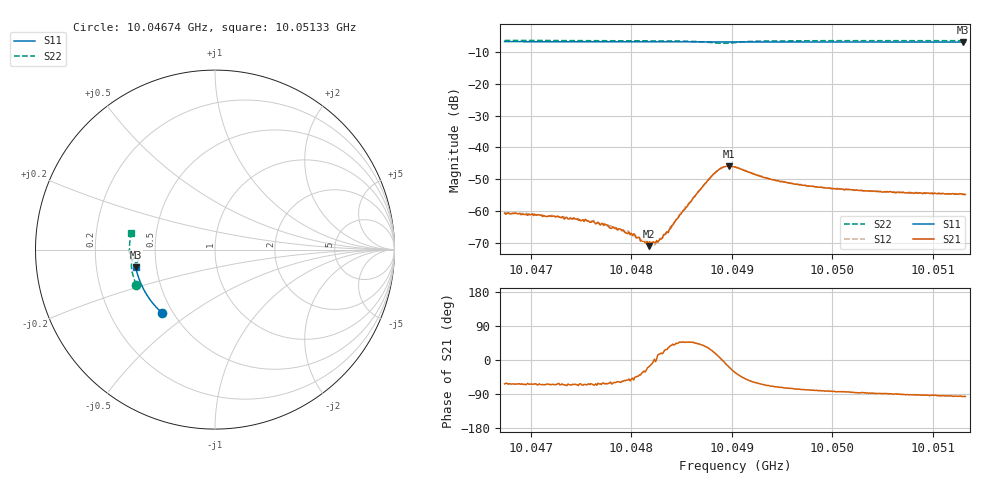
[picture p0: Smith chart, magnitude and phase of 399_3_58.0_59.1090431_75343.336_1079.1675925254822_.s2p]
#  HZ  S  RI  R  50.00
! Rohde & Schwarz Vector Network Analyzer
! Rohde-Schwarz,ZNB20-2Port,1311601062101988,3.16
! Created: UTC 3/21/2024, 1:08:10 AM
! freq[Hz]  re:S11  im:S11  re:S21  im:S21  re:S12  im:S12  re:S22  im:S22
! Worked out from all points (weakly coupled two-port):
!   401 points, 10.04674 GHz to 10.05133 GHz, reference 50 ohm
!   highest |S21| = -45.98 dB at 10.04898 GHz (marker M1); lowest = -71.1 dB at 10.04817 GHz (marker M2)
!   lowest |S11| = -6.9 dB at 10.0513 GHz (marker M3), VSWR 2.65, Z = 19.1 - j4.69 ohm
!   |S11| at or under -10 dB: nowhere
!   |S22| runs from -7.3 to -6.4 dB; largest |S21 - S12| = 0.00037
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1.004674e10  -0.2947 -0.3533  0.000417 -0.000819  0.000464 -0.000809  -0.4388 -0.1951
1.004721e10  -0.3173 -0.332  0.000357 -0.000737  0.000415 -0.000745  -0.45 -0.1653
1.0047508e10  -0.3308 -0.3174  0.000289 -0.000642  0.000347 -0.00063  -0.4562 -0.1459
1.0047646e10  -0.3368 -0.3109  0.000282 -0.000554  0.000342 -0.000586  -0.4586 -0.1363
1.0047898e10  -0.3473 -0.2978  0.000261 -0.000439  0.000293 -0.000393  -0.4624 -0.1188
1.0047956e10  -0.3498 -0.2949  0.000271 -0.000355  0.000287 -0.00036  -0.4632 -0.1147
1.0048024e10  -0.3525 -0.2913  0.000264 -0.000344  0.000291 -0.000283  -0.464 -0.1096
1.0048116e10  -0.3563 -0.2866  0.000279 -0.000177  0.000298 -0.000177  -0.4651 -0.1027
1.0048173e10  -0.3586 -0.2836  0.000262 -8.94e-05  0.000325 -7.36e-05  -0.4655 -0.0982
1.0048231e10  -0.3609 -0.2805  0.000316 1.06e-05  0.000289 4.49e-06  -0.4658 -0.0937
1.0048277e10  -0.3627 -0.278  0.000329 8.87e-05  0.000352 9.73e-05  -0.4661 -0.09
1.0048357e10  -0.3656 -0.2738  0.000413 0.000216  0.000396 0.000259  -0.4659 -0.0832
1.0048517e10  -0.3716 -0.265  0.000673 0.00075  0.000634 0.00078  -0.4641 -0.0685
1.0048804e10  -0.3815 -0.2491  0.00322 0.0015  0.00314 0.00169  -0.4409 -0.0462
1.0048896e10  -0.3844 -0.244  0.0047 0.000185  0.00469 0.000535  -0.4292 -0.0547
1.0048976e10  -0.3871 -0.2398  0.00474 -0.00166  0.0049 -0.00137  -0.4314 -0.0677
1.0049033e10  -0.3889 -0.2366  0.00407 -0.00266  0.00433 -0.00238  -0.4395 -0.0724
1.0049412e10  -0.401 -0.2147  0.00109 -0.00287  0.00127 -0.00286  -0.4704 -0.0458
1.0049802e10  -0.4119 -0.1916  0.000437 -0.0024  0.000581 -0.00236  -0.4757 -0.0147
1.005057e10  -0.4296 -0.1442  3.31e-05 -0.00199  0.000131 -0.00197  -0.4749 0.0399
1.0051304e10  -0.4414 -0.0978  -0.000213 -0.00179  -8.64e-05 -0.00184  -0.4679 0.0887
1.0051327e10  -0.4417 -0.0963  -0.000194 -0.00179  -7.88e-05 -0.00184  -0.4677 0.09
